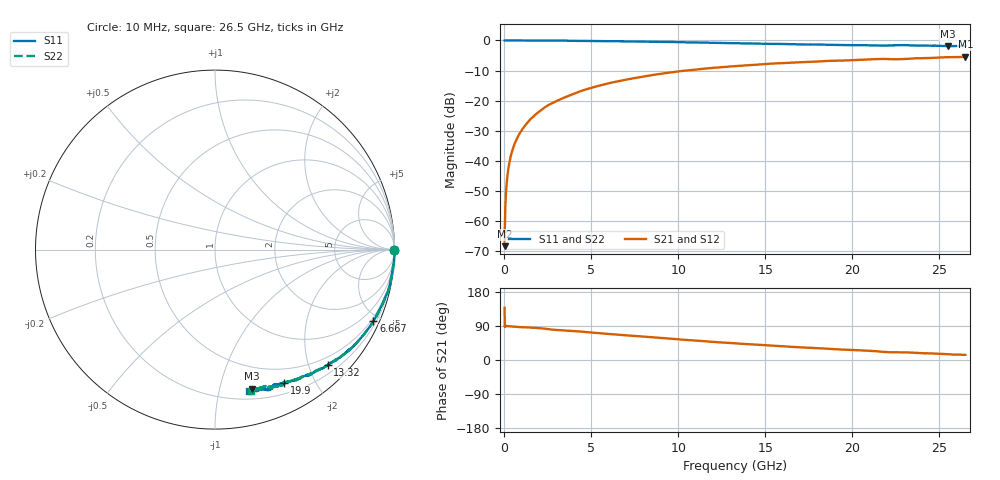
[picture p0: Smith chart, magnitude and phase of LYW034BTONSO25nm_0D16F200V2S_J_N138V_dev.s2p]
!Keysight Technologies,N5222B,MY61253708,A.15.00.15
!Date: Wednesday, June 19, 2024 10:02:36
!Correction: S11(C  2-Port  )
!S21(C  2-Port  )
!S12(C  2-Port  )
!S22(C  2-Port  )
!S2P File: Measurements: S11, S21, S12, S22:
# Hz S  RI  R 50
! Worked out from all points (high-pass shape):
!   2651 points, 10 MHz to 26.5 GHz, reference 50 ohm
!   highest |S21| = -5.41 dB at 26.5 GHz (marker M1); lowest = -68.4 dB at 10 MHz (marker M2)
!   |S21| within 3 dB of the highest: 13.56 GHz to end of sweep
!   lowest |S11| = -1.9 dB at 25.5 GHz (marker M3), VSWR 9.10, Z = 14.5 - j63 ohm
!   |S11| at or under -10 dB: nowhere
!   |S22| runs from -1.9 to 0.0 dB; largest |S21 - S12| = 0.006
!   S11 on the Smith chart (normalised r, x): 10 MHz: open; 6.667 GHz: 0.37, -4.62; 13.32 GHz: 0.35, -2.33; 19.9 GHz: 0.32, -1.60; 26.5 GHz: 0.27, -1.23
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1e7  0.9986 -0.0028  -0.000285 0.000255  3.66e-05 0.000358  0.9986 -0.0014
6.997736e7  1 -0.00511  3.61e-06 0.00231  1.59e-07 0.00234  0.9997 -0.00477
1.599434e8  1 -0.0112  4.93e-05 0.00527  6.34e-05 0.00528  0.9996 -0.0106
2.099245e8  0.9998 -0.0141  0.000104 0.00689  0.000122 0.00691  0.9994 -0.0135
2.699019e8  0.9998 -0.0182  0.000158 0.00885  0.000184 0.0089  0.9999 -0.0175
3.698642e8  0.9997 -0.0252  0.000311 0.0122  0.00027 0.0122  0.9994 -0.0244
4.998151e8  0.9989 -0.0334  0.000552 0.0164  0.000542 0.0165  0.9991 -0.0324
6.597547e8  0.9985 -0.0434  0.000892 0.0216  0.000879 0.0217  0.9986 -0.0426
8.596792e8  0.9981 -0.0567  0.0015 0.028  0.00155 0.0282  0.9977 -0.0564
1.469449e9  0.991 -0.0979  0.00367 0.0483  0.00373 0.0483  0.9935 -0.0943
2.339121e9  0.9823 -0.1508  0.00984 0.0773  0.01 0.0778  0.9834 -0.1513
3.218789e9  0.9714 -0.2067  0.0209 0.1034  0.021 0.104  0.9715 -0.206
4.428332e9  0.9438 -0.2785  0.0377 0.1404  0.0381 0.1411  0.9452 -0.2761
6.667487e9  0.8822 -0.3984  0.0862 0.1957  0.0872 0.1962  0.8837 -0.3983
8.846664e9  0.8063 -0.4994  0.143 0.2355  0.1443 0.2359  0.8073 -0.4984
1.3255e10  0.632 -0.6403  0.2695 0.2606  0.2713 0.2601  0.6347 -0.6393
1.332497e10  0.6279 -0.6437  0.2721 0.2603  0.2734 0.2596  0.6298 -0.6409
1.767333e10  0.4611 -0.7213  0.3757 0.2339  0.3787 0.232  0.4701 -0.7189
1.990249e10  0.3859 -0.743  0.4203 0.2101  0.4225 0.2069  0.3959 -0.7399
2.209166e10  0.3258 -0.7557  0.4589 0.1726  0.4602 0.1694  0.3182 -0.7614
2.550038e10  0.2065 -0.7749  0.5085 0.1367  0.5095 0.136  0.2257 -0.7767
2.65e10  0.1869 -0.7885  0.5219 0.1252  0.5211 0.1214  0.1995 -0.7863
